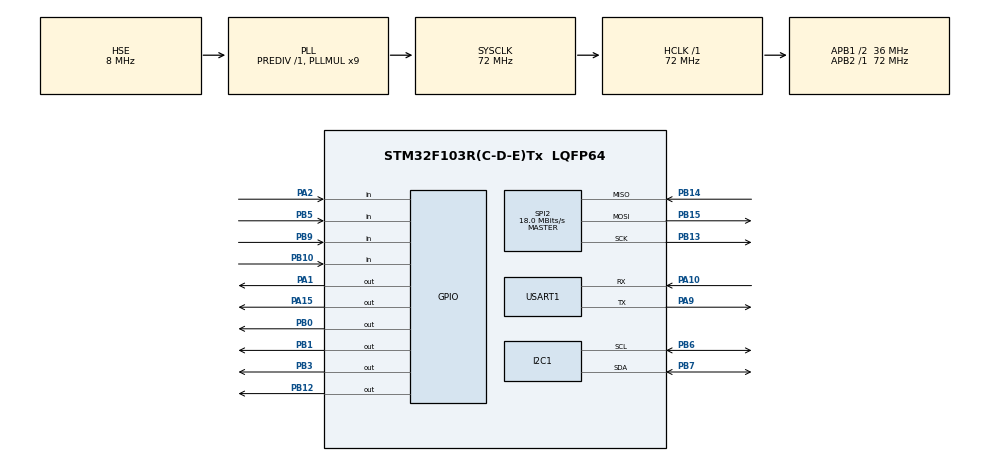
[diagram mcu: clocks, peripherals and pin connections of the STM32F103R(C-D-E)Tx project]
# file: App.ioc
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I2C1.I2C_Mode=I2C_Fast
Mcu.Family=STM32F1
Mcu.Name=STM32F103R(C-D-E)Tx
Mcu.Package=LQFP64
NVIC.PriorityGroup=NVIC_PRIORITYGROUP_4
PA1.GPIO_ModeDefaultOutputPP=GPIO_MODE_OUTPUT_PP
PA1.GPIO_PuPd=GPIO_NOPULL
PA1.GPIO_Speed=GPIO_SPEED_FREQ_HIGH
PA1.PinState=GPIO_PIN_SET
PA1.Signal=GPIO_Output
PA10.Mode=Asynchronous
PA10.Signal=USART1_RX
PA13.Mode=Serial_Wire
PA13.Signal=SYS_JTMS-SWDIO
PA14.Mode=Serial_Wire
PA14.Signal=SYS_JTCK-SWCLK
PA15.Signal=GPIO_Output
PA2.GPIO_Mode=GPIO_MODE_INPUT
PA2.GPIO_PuPd=GPIO_PULLUP
PA2.Signal=GPIO_Input
PA9.Mode=Asynchronous
PA9.Signal=USART1_TX
PB0.GPIO_ModeDefaultOutputPP=GPIO_MODE_OUTPUT_PP
PB0.GPIO_PuPd=GPIO_NOPULL
PB0.GPIO_Speed=GPIO_SPEED_FREQ_HIGH
PB0.PinState=GPIO_PIN_SET
PB0.Signal=GPIO_Output
PB1.GPIO_ModeDefaultOutputPP=GPIO_MODE_OUTPUT_PP
PB1.GPIO_PuPd=GPIO_NOPULL
PB1.GPIO_Speed=GPIO_SPEED_FREQ_HIGH
PB1.PinState=GPIO_PIN_SET
PB1.Signal=GPIO_Output
PB10.GPIO_Mode=GPIO_MODE_INPUT
PB10.GPIO_PuPd=GPIO_PULLUP
PB10.Signal=GPIO_Input
PB12.PinState=GPIO_PIN_SET
PB12.Signal=GPIO_Output
PB13.Mode=Full_Duplex_Master
PB13.Signal=SPI2_SCK
PB14.Mode=Full_Duplex_Master
PB14.Signal=SPI2_MISO
PB15.Mode=Full_Duplex_Master
PB15.Signal=SPI2_MOSI
PB3.GPIO_ModeDefaultOutputPP=GPIO_MODE_OUTPUT_PP
PB3.GPIO_PuPd=GPIO_NOPULL
PB3.GPIO_Speed=GPIO_SPEED_FREQ_HIGH
PB3.PinState=GPIO_PIN_SET
PB3.Signal=GPIO_Output
PB5.GPIO_Mode=GPIO_MODE_INPUT
PB5.GPIO_PuPd=GPIO_PULLUP
PB5.Signal=GPIO_Input
PB6.Mode=I2C
PB6.Signal=I2C1_SCL
PB7.Mode=I2C
PB7.Signal=I2C1_SDA
PB9.GPIO_Mode=GPIO_MODE_INPUT
PB9.GPIO_PuPd=GPIO_PULLUP
PB9.Signal=GPIO_Input
PD0-OSC_IN.Mode=HSE-External-Oscillator
PD0-OSC_IN.Signal=RCC_OSC_IN
PD1-OSC_OUT.Mode=HSE-External-Oscillator
PD1-OSC_OUT.Signal=RCC_OSC_OUT
ProjectManager.HeapSize=0x200
ProjectManager.StackSize=0x400
ProjectManager.TargetToolchain=MDK-ARM V5
RCC.AHBFreq_Value=72000000
RCC.APB1CLKDivider=RCC_HCLK_DIV2
RCC.APB1Freq_Value=36000000
RCC.APB1TimFreq_Value=72000000
RCC.APB2Freq_Value=72000000
RCC.APB2TimFreq_Value=72000000
RCC.HCLKFreq_Value=72000000
RCC.PLLMUL=RCC_PLL_MUL9
RCC.PLLSourceVirtual=RCC_PLLSOURCE_HSE
RCC.SYSCLKFreq_VALUE=72000000
RCC.SYSCLKSource=RCC_SYSCLKSOURCE_PLLCLK
RCC.USBFreq_Value=72000000
SPI2.CalculateBaudRate=18.0 MBits/s
SPI2.Direction=SPI_DIRECTION_2LINES
SPI2.Mode=SPI_MODE_MASTER
SPI2.VirtualType=VM_MASTER
USART1.VirtualMode=VM_ASYNC
board=custom

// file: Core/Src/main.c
/* USER CODE BEGIN Header */
/**
	******************************************************************************
	* @file           : main.c
	* @brief          : Main program body
	******************************************************************************
	* @attention
	*
	* Copyright (c) 2026 STMicroelectronics.
	* All rights reserved.
	*
	* This software is licensed under terms that can be found in the LICENSE file
	* in the root directory of this software component.
	* If no LICENSE file comes with this software, it is provided AS-IS.
	*
	******************************************************************************
	*/
/* USER CODE END Header */
#include "main.h"

/* USER CODE BEGIN Includes */
#include <stdio.h>      // printf 和 FILE 类型的声明
#include "w25q.h"       // w25q_read_id 的声明
#include "ota_meta.h"
#include "crc32.h"      // crc32_flash 的声明，算 A/B 区 CRC 用
#include "FreeRTOS.h"
#include "task.h"
#include "app_oled.h"
#include "app_key.h"
#include "lock.h"
#include "app_fp.h"
#include "app_pass.h"
#include "esp8266.h"
#include "ota.h"
/* USER CODE END Includes */

I2C_HandleTypeDef hi2c1;

SPI_HandleTypeDef hspi2;

UART_HandleTypeDef huart1;

void SystemClock_Config(void);
static void MX_GPIO_Init(void);
static void MX_SPI2_Init(void);
static void MX_USART1_UART_Init(void);
static void MX_I2C1_Init(void);

/* USER CODE BEGIN 0 */

void vApplicationMallocFailedHook(void)                             // 堆不够时进来
{
	taskDISABLE_INTERRUPTS();                                       // 关中断，停在原地
	for (;;)
	{
	}
}

void vApplicationStackOverflowHook(TaskHandle_t xTask, char *pcTaskName)  // 任务栈溢出时进来
{
	(void)xTask;
	(void)pcTaskName;
	taskDISABLE_INTERRUPTS();                                       // 关中断，停在原地
	for (;;)
	{
	}
}
/* USER CODE END 0 */

int main(void)
{

  /* USER CODE BEGIN 1 */

  /* 向量表基址正常由 Bootloader 按要启动的槽设好；只有没指向 A/B 槽时才兜底回 A */
  if (SCB->VTOR != OTA_SLOT_A_ADDR && SCB->VTOR != OTA_SLOT_B_ADDR)
  {
      SCB->VTOR = OTA_SLOT_A_ADDR;
  }

  /* USER CODE END 1 */

  /* MCU Configuration--------------------------------------------------------*/

  /* Reset of all peripherals, Initializes the Flash interface and the Systick. */
  HAL_Init();

  /* Configure the system clock */
  SystemClock_Config();

  /* Initialize all configured peripherals */
  MX_GPIO_Init();
  MX_SPI2_Init();
  MX_USART1_UART_Init();
  MX_I2C1_Init();
  /* USER CODE BEGIN 2 */

	printf("[App] W25Q ID = 0x%06X\r\n", w25q_read_id());   // 读 JEDEC ID，验证 App 侧 SPI 通不通
	printf("[App] hello\r\n");                              // 确认 printf 本身能用
	printf("[App] build " __DATE__ " " __TIME__ "\r\n");     // 编译时刻，用来确认跑的是哪一版固件

	printf("[App] main=0x%08X VTOR=0x%08X\r\n",                     // 本镜像的链接地址
  (uint32_t)&main, SCB->VTOR);                                // 和向量表基址

	ota_meta_t meta;                                                // 当前元数据

	ota_meta_load(&meta);                                           // 从 Flash 读元数据
		printf("[App] RUN slot=%c  addr=0x%08X  size=%u KB\r\n",          // 一眼看出跑在哪个槽
	       (SCB->VTOR == OTA_SLOT_A_ADDR) ? 'A' : 'B',
	       (unsigned)SCB->VTOR,
	       (unsigned)(OTA_FW_SIZE / 1024));
printf("[App] boot: vtor=0x%08X slot=%d trial=%d cnt=%d\r\n",   // 从哪个槽起来的
		SCB->VTOR, meta.active_slot, meta.trial, meta.boot_count);  // 槽号、试启动、失败次数

	// ===== 试启动确认：能跑到这里，说明固件活到了 main =====
	if (ota_meta_is_valid(&meta) && meta.trial == 1)                // 这次是试启动
	{
		if (SCB->VTOR == ota_slot_addr(meta.active_slot))           // 跑的就是活动槽
		{
			meta.trial = 0;                                         // 确认能跑
			meta.boot_count = 0;                                    // 计数归零
			ota_meta_save(&meta);                                   // 写回
			printf("[App] confirmed, trial cleared\r\n");           // 打印
		}
		else                                                        // 回退上来的
		{
			printf("[App] fallback boot, not confirm\r\n");         // 不清 trial
		}
	}

	app_oled_start(&hi2c1);                                      // 初始化 OLED，建显示任务
	app_key_start();                                             // 建键盘扫描任务
	lock_start();                                                // 建锁体任务
	app_fp_start();                                              // 建指纹任务
	app_pass_start();                                            // 建密码任务
	esp_start();                                                 // 建 WiFi 任务
	ota_task_start();                                            // 建 OTA 命令任务（串口 P / A）
	printf("[App] heap free=%u B\r\n", (unsigned)xPortGetFreeHeapSize());
	vTaskStartScheduler();                                       // 启动调度器，正常不返回
  /* USER CODE END 2 */

  /* Infinite loop */
	while (1)
	{

	}
}

void SystemClock_Config(void)
{
  RCC_OscInitTypeDef RCC_OscInitStruct = {0};
  RCC_ClkInitTypeDef RCC_ClkInitStruct = {0};

  /** Initializes the RCC Oscillators according to the specified parameters
  * in the RCC_OscInitTypeDef structure.
  */
  RCC_OscInitStruct.OscillatorType = RCC_OSCILLATORTYPE_HSE;
  RCC_OscInitStruct.HSEState = RCC_HSE_ON;
  RCC_OscInitStruct.HSEPredivValue = RCC_HSE_PREDIV_DIV1;
  RCC_OscInitStruct.HSIState = RCC_HSI_ON;
  RCC_OscInitStruct.PLL.PLLState = RCC_PLL_ON;
  RCC_OscInitStruct.PLL.PLLSource = RCC_PLLSOURCE_HSE;
  RCC_OscInitStruct.PLL.PLLMUL = RCC_PLL_MUL9;
  if (HAL_RCC_OscConfig(&RCC_OscInitStruct) != HAL_OK)
  {
    Error_Handler();
  }

  /** Initializes the CPU, AHB and APB buses clocks
  */
  RCC_ClkInitStruct.ClockType = RCC_CLOCKTYPE_HCLK|RCC_CLOCKTYPE_SYSCLK
                              |RCC_CLOCKTYPE_PCLK1|RCC_CLOCKTYPE_PCLK2;
  RCC_ClkInitStruct.SYSCLKSource = RCC_SYSCLKSOURCE_PLLCLK;
  RCC_ClkInitStruct.AHBCLKDivider = RCC_SYSCLK_DIV1;
  RCC_ClkInitStruct.APB1CLKDivider = RCC_HCLK_DIV2;
  RCC_ClkInitStruct.APB2CLKDivider = RCC_HCLK_DIV1;

  if (HAL_RCC_ClockConfig(&RCC_ClkInitStruct, FLASH_LATENCY_2) != HAL_OK)
  {
    Error_Handler();
  }
}

static void MX_I2C1_Init(void)
{

  hi2c1.Instance = I2C1;
  hi2c1.Init.ClockSpeed = 400000;
  hi2c1.Init.DutyCycle = I2C_DUTYCYCLE_2;
  hi2c1.Init.OwnAddress1 = 0;
  hi2c1.Init.AddressingMode = I2C_ADDRESSINGMODE_7BIT;
  hi2c1.Init.DualAddressMode = I2C_DUALADDRESS_DISABLE;
  hi2c1.Init.OwnAddress2 = 0;
  hi2c1.Init.GeneralCallMode = I2C_GENERALCALL_DISABLE;
  hi2c1.Init.NoStretchMode = I2C_NOSTRETCH_DISABLE;
  if (HAL_I2C_Init(&hi2c1) != HAL_OK)
  {
    Error_Handler();
  }

}

static void MX_SPI2_Init(void)
{

  /* SPI2 parameter configuration*/
  hspi2.Instance = SPI2;
  hspi2.Init.Mode = SPI_MODE_MASTER;
  hspi2.Init.Direction = SPI_DIRECTION_2LINES;
  hspi2.Init.DataSize = SPI_DATASIZE_8BIT;
  hspi2.Init.CLKPolarity = SPI_POLARITY_LOW;
  hspi2.Init.CLKPhase = SPI_PHASE_1EDGE;
  hspi2.Init.NSS = SPI_NSS_SOFT;
  hspi2.Init.BaudRatePrescaler = SPI_BAUDRATEPRESCALER_4;      // 18MHz 降到 9MHz，飞线太长时更稳
  hspi2.Init.FirstBit = SPI_FIRSTBIT_MSB;
  hspi2.Init.TIMode = SPI_TIMODE_DISABLE;
  hspi2.Init.CRCCalculation = SPI_CRCCALCULATION_DISABLE;
  hspi2.Init.CRCPolynomial = 10;
  if (HAL_SPI_Init(&hspi2) != HAL_OK)
  {
    Error_Handler();
  }

}

static void MX_USART1_UART_Init(void)
{

  huart1.Instance = USART1;
  huart1.Init.BaudRate = 115200;
  huart1.Init.WordLength = UART_WORDLENGTH_8B;
  huart1.Init.StopBits = UART_STOPBITS_1;
  huart1.Init.Parity = UART_PARITY_NONE;
  huart1.Init.Mode = UART_MODE_TX_RX;
  huart1.Init.HwFlowCtl = UART_HWCONTROL_NONE;
  huart1.Init.OverSampling = UART_OVERSAMPLING_16;
  if (HAL_UART_Init(&huart1) != HAL_OK)
  {
    Error_Handler();
  }

}

static void MX_GPIO_Init(void)
{
  GPIO_InitTypeDef GPIO_InitStruct = {0};

  /* GPIO Ports Clock Enable */
  __HAL_RCC_GPIOD_CLK_ENABLE();
  __HAL_RCC_GPIOA_CLK_ENABLE();
  __HAL_RCC_GPIOB_CLK_ENABLE();

  /*Configure GPIO pin Output Level */
  HAL_GPIO_WritePin(GPIOA, GPIO_PIN_1, GPIO_PIN_SET);

  /*Configure GPIO pin Output Level */
  HAL_GPIO_WritePin(GPIOB, GPIO_PIN_0|GPIO_PIN_1|GPIO_PIN_12|GPIO_PIN_3, GPIO_PIN_SET);

  /*Configure GPIO pin Output Level */
  HAL_GPIO_WritePin(GPIOA, GPIO_PIN_15, GPIO_PIN_RESET);

  /*Configure GPIO pin : PA1 */
  GPIO_InitStruct.Pin = GPIO_PIN_1;
  GPIO_InitStruct.Mode = GPIO_MODE_OUTPUT_PP;
  GPIO_InitStruct.Pull = GPIO_NOPULL;
  GPIO_InitStruct.Speed = GPIO_SPEED_FREQ_HIGH;
  HAL_GPIO_Init(GPIOA, &GPIO_InitStruct);

  /*Configure GPIO pin : PA2 */
  GPIO_InitStruct.Pin = GPIO_PIN_2;
  GPIO_InitStruct.Mode = GPIO_MODE_INPUT;
  GPIO_InitStruct.Pull = GPIO_PULLUP;
  HAL_GPIO_Init(GPIOA, &GPIO_InitStruct);

  /*Configure GPIO pins : PB0 PB1 PB3 */
  GPIO_InitStruct.Pin = GPIO_PIN_0|GPIO_PIN_1|GPIO_PIN_3;
  GPIO_InitStruct.Mode = GPIO_MODE_OUTPUT_PP;
  GPIO_InitStruct.Pull = GPIO_NOPULL;
  GPIO_InitStruct.Speed = GPIO_SPEED_FREQ_HIGH;
  HAL_GPIO_Init(GPIOB, &GPIO_InitStruct);

  /*Configure GPIO pins : PB10 PB5 PB9 */
  GPIO_InitStruct.Pin = GPIO_PIN_10|GPIO_PIN_5|GPIO_PIN_9;
  GPIO_InitStruct.Mode = GPIO_MODE_INPUT;
  GPIO_InitStruct.Pull = GPIO_PULLUP;
  HAL_GPIO_Init(GPIOB, &GPIO_InitStruct);

  /*Configure GPIO pin : PB12 */
  GPIO_InitStruct.Pin = GPIO_PIN_12;
  GPIO_InitStruct.Mode = GPIO_MODE_OUTPUT_PP;
  GPIO_InitStruct.Pull = GPIO_NOPULL;
  GPIO_InitStruct.Speed = GPIO_SPEED_FREQ_LOW;
  HAL_GPIO_Init(GPIOB, &GPIO_InitStruct);

  /*Configure GPIO pin : PA15 */
  GPIO_InitStruct.Pin = GPIO_PIN_15;
  GPIO_InitStruct.Mode = GPIO_MODE_OUTPUT_PP;
  GPIO_InitStruct.Pull = GPIO_NOPULL;
  GPIO_InitStruct.Speed = GPIO_SPEED_FREQ_LOW;
  HAL_GPIO_Init(GPIOA, &GPIO_InitStruct);

}

/* USER CODE BEGIN 4 */

// 重定向 printf 到串口1
int fputc(int ch, FILE *f)                                          // printf 每输出一个字符就调它一次
{
	HAL_UART_Transmit(&huart1, (uint8_t *)&ch, 1, HAL_MAX_DELAY);   // 用串口1发这一个字节，死等到发完
	return ch;                                                      // 原样返回，不然 printf 以为写失败会中断
}

/* USER CODE END 4 */

void Error_Handler(void)
{
	__disable_irq();
	while (1)
	{
	}
}
